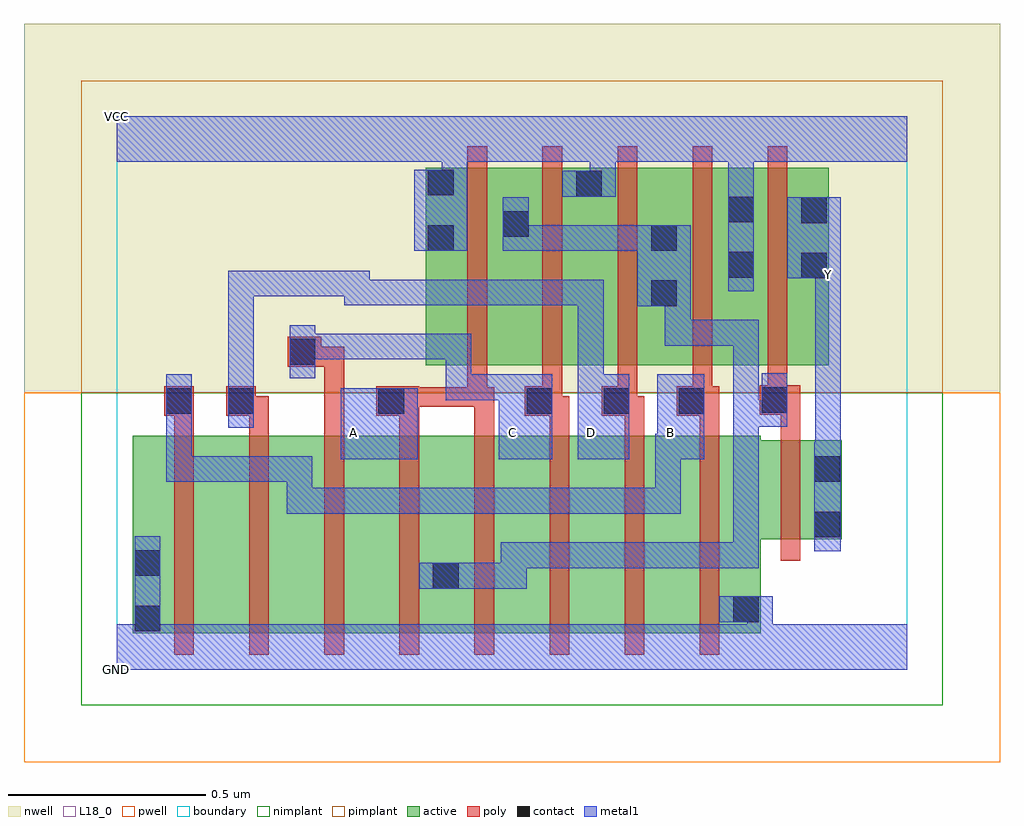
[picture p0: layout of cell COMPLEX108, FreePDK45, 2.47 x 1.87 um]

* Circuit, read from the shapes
.subckt COMPLEX108 A B C D GND VCC Y
M1 n1 B GND VSUBS nfet w=0.5u l=0.05u
M2 n2 D n1 VSUBS nfet w=0.5u l=0.05u
M3 n3 C n2 VSUBS nfet w=0.5u l=0.05u
M4 n4 A n3 VSUBS nfet w=0.5u l=0.05u
M5 n5 A n4 VSUBS nfet w=0.5u l=0.05u
M6 n6 C n5 VSUBS nfet w=0.5u l=0.05u
M7 n7 D n6 VSUBS nfet w=0.5u l=0.05u
M8 GND B n7 VSUBS nfet w=0.5u l=0.05u
M9 Y n4 GND VSUBS nfet w=0.25u l=0.05u
M10 n4 A VCC n8 pfet w=0.5u l=0.05u
M11 VCC C n4 n8 pfet w=0.5u l=0.05u
M12 n4 D VCC n8 pfet w=0.5u l=0.05u
M13 VCC B n4 n8 pfet w=0.5u l=0.05u
M14 Y n4 VCC n8 pfet w=0.5u l=0.05u
.ends

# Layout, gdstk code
import gdstk
lib = gdstk.Library(unit=1e-6, precision=1e-09)
def R(c, l, rs):  # rectangles x0, y0, x1, y1
    for r in rs: c.add(gdstk.rectangle(r[:2], r[2:], *l))
def A(c, l, x, y, w, h, nx, ny, dx, dy):  # array of equal rectangles
    R(c, l, [(x+i*dx, y+j*dy, x+i*dx+w, y+j*dy+h) for i in range(nx) for j in range(ny)])
active = (1, 0)
pwell = (2, 0)
nwell = (3, 0)
nimplant = (4, 0)
pimplant = (5, 0)
poly = (9, 0)
contact = (10, 0)
metal1 = (11, 0)
L18_0 = (18, 0)
boundary = (235, 0)

complex108 = lib.new_cell('COMPLEX108')
R(complex108, active, [(0.04,0.092,0.265,0.592), (0.04,0.092,0.115,0.592), (0.265,0.092,0.455,0.592), (0.455,0.092,0.645,0.592), (0.645,0.092,0.87,0.592), (0.795,0.092,1.025,0.592), (1.025,0.092,1.215,0.592), (1.215,0.092,1.405,0.592), (1.405,0.092,1.63,0.592), (1.555,0.092,1.63,0.497), (0.795,0.145,0.87,0.577), (1.555,0.33,1.835,0.58), (1.76,0.33,1.835,0.58), (0.782,0.77,1.047,1.27), (0.972,0.77,1.232,1.27), (1.157,0.77,1.422,1.27), (1.347,0.77,1.617,1.27), (1.542,0.77,1.802,1.27), (1.727,0.77,1.802,1.2), (0.782,0.807,0.857,1.27), (0.972,0.807,1.047,1.2), (1.157,0.807,1.232,1.27), (1.347,0.807,1.422,1.2), (1.542,0.807,1.617,1.267)])
R(complex108, pwell, [(-0.235,-0.235,2.235,0.7)])
R(complex108, nwell, [(-0.235,0.7,2.235,1.635)])
R(complex108, nimplant, [(-0.09,-0.09,2.09,0.7)])
R(complex108, pimplant, [(-0.09,0.7,2.09,1.49)])
A(complex108, poly, 0.145, 0.037, 0.05, 0.61, 8, 1, 0.19, 0)
A(complex108, poly, 0.335, 0.597, 0.05, 0.095, 3, 1, 0.38, 0)
A(complex108, poly, 1.077, 0.667, 0.05, 0.098, 3, 1, 0.19, 0)
A(complex108, poly, 0.887, 0.715, 0.05, 0.61, 5, 1, 0.19, 0)
R(complex108, poly, [(1.68,0.275,1.73,0.635), (1.68,0.585,1.73,0.695), (0.145,0.597,0.195,0.692), (0.525,0.597,0.575,0.817), (0.905,0.597,0.955,0.715), (1.285,0.597,1.335,0.692), (1.475,0.597,1.525,0.692), (0.12,0.642,0.195,0.717), (0.277,0.642,0.352,0.717), (0.302,0.642,0.352,0.692), (0.302,0.642,0.385,0.692), (0.657,0.642,0.765,0.717), (1.032,0.642,1.127,0.717), (1.077,0.642,1.127,0.692), (1.077,0.642,1.145,0.692), (1.227,0.642,1.317,0.717), (1.267,0.642,1.317,0.692), (1.267,0.642,1.335,0.692), (1.417,0.642,1.525,0.717), (1.627,0.645,1.73,0.72), (0.715,0.665,0.765,0.715), (0.715,0.665,0.765,0.715), (0.715,0.665,0.937,0.715), (0.887,0.665,0.937,0.715), (0.887,0.665,0.937,0.715), (0.887,0.665,0.955,0.715), (0.887,0.665,0.937,0.765), (1.457,0.667,1.507,0.717), (1.457,0.667,1.507,0.717), (1.647,0.67,1.697,0.765), (1.647,0.67,1.697,0.72), (1.647,0.67,1.697,0.72), (0.432,0.767,0.517,0.842), (0.467,0.767,0.517,0.817), (0.467,0.767,0.575,0.817)])
R(complex108, contact, [(0.045,0.097,0.11,0.162), (1.56,0.12,1.625,0.185), (0.8,0.205,0.865,0.27), (0.045,0.237,0.11,0.302), (1.765,0.335,1.83,0.4), (1.765,0.475,1.83,0.54), (0.125,0.647,0.19,0.712), (0.282,0.647,0.347,0.712), (0.662,0.647,0.727,0.712), (1.037,0.647,1.102,0.712), (1.232,0.647,1.297,0.712), (1.422,0.647,1.487,0.712), (1.632,0.65,1.697,0.715), (0.437,0.772,0.502,0.837), (1.352,0.92,1.417,0.985), (1.732,0.99,1.797,1.055), (1.547,0.992,1.612,1.057), (0.787,1.06,0.852,1.125), (1.352,1.06,1.417,1.125), (0.977,1.095,1.042,1.16), (1.732,1.13,1.797,1.195), (1.547,1.132,1.612,1.197), (1.162,1.197,1.227,1.262), (0.787,1.2,0.852,1.265)])
R(complex108, metal1, [(0,0,2,0.115), (0.045,0.05,0.11,0.127), (1.595,0.05,1.66,0.185), (0.045,0.062,0.11,0.337), (1.525,0.12,1.66,0.185), (0.765,0.205,0.9,0.27), (0.835,0.205,0.9,0.27), (0.835,0.205,0.9,0.27), (0.835,0.205,1.037,0.27), (0.972,0.205,1.037,0.27), (0.972,0.205,1.037,0.322), (0.972,0.257,1.037,0.322), (0.972,0.257,1.037,0.322), (0.972,0.257,1.037,0.322), (0.972,0.257,1.245,0.322), (1.18,0.257,1.245,0.322), (1.18,0.257,1.245,0.322), (1.18,0.257,1.245,0.322), (1.18,0.257,1.452,0.322), (1.387,0.257,1.452,0.322), (1.387,0.257,1.562,0.322), (1.497,0.257,1.562,0.322), (1.497,0.257,1.625,0.322), (1.56,0.257,1.625,0.322), (1.56,0.257,1.625,0.68), (1.765,0.3,1.832,0.575), (0.43,0.395,0.495,0.46), (0.43,0.395,0.76,0.46), (0.43,0.395,0.495,0.54), (0.695,0.395,0.76,0.46), (0.695,0.395,0.897,0.46), (0.832,0.395,0.897,0.46), (0.832,0.395,0.897,0.46), (0.832,0.395,0.897,0.46), (0.832,0.395,0.897,0.46), (0.832,0.395,0.897,0.46), (0.832,0.395,1.055,0.46), (0.99,0.395,1.055,0.46), (0.99,0.395,1.055,0.46), (0.99,0.395,1.055,0.46), (0.99,0.395,1.245,0.46), (1.18,0.395,1.245,0.46), (1.18,0.395,1.245,0.46), (1.18,0.395,1.245,0.46), (1.18,0.395,1.427,0.46), (1.362,0.395,1.427,0.597), (0.125,0.475,0.19,0.677), (0.125,0.475,0.357,0.54), (0.292,0.475,0.357,0.54), (0.292,0.475,0.357,0.54), (0.292,0.475,0.357,0.54), (0.292,0.475,0.495,0.54), (0.43,0.475,0.495,0.54), (0.43,0.475,0.495,0.54), (0.43,0.475,0.495,0.54), (1.767,0.51,1.832,0.997), (0.567,0.532,0.762,0.712), (0.967,0.532,1.102,0.747), (1.167,0.532,1.297,0.747), (1.362,0.532,1.432,0.597), (1.367,0.532,1.487,0.747), (0.125,0.612,0.19,0.677), (0.125,0.612,0.19,0.747), (0.282,0.612,0.347,0.747), (1.56,0.615,1.625,0.68), (1.56,0.615,1.697,0.68), (1.56,0.615,1.625,0.885), (1.632,0.615,1.697,0.75), (0.282,0.682,0.347,0.747), (0.282,0.682,0.347,0.747), (0.282,0.682,0.347,1.01), (0.832,0.682,1.032,0.747), (0.832,0.682,0.897,0.85), (0.967,0.682,1.032,0.747), (0.967,0.682,1.032,0.747), (1.167,0.682,1.232,0.747), (1.167,0.682,1.232,0.747), (1.167,0.682,1.232,0.987), (0.437,0.737,0.502,0.872), (0.437,0.785,0.502,0.85), (0.437,0.785,0.502,0.85), (0.437,0.785,0.74,0.85), (0.675,0.785,0.74,0.85), (0.675,0.785,0.74,0.85), (0.675,0.785,0.74,0.85), (0.675,0.785,0.897,0.85), (1.387,0.82,1.452,0.885), (1.387,0.82,1.452,0.885), (1.387,0.82,1.452,0.885), (1.387,0.82,1.625,0.885), (1.387,0.82,1.452,0.985), (1.56,0.82,1.625,0.885), (1.317,0.92,1.452,1.125), (0.575,0.922,0.64,0.987), (0.575,0.922,0.64,0.987), (0.575,0.922,0.897,0.987), (0.575,0.922,0.64,1.01), (0.832,0.922,0.897,0.987), (0.832,0.922,1.055,0.987), (0.99,0.922,1.055,0.987), (0.99,0.922,1.055,0.987), (0.99,0.922,1.055,0.987), (0.99,0.922,1.232,0.987), (1.167,0.922,1.232,0.987), (1.767,0.932,1.832,1.067), (0.282,0.945,0.347,1.01), (0.282,0.945,0.495,1.01), (0.43,0.945,0.495,1.01), (0.43,0.945,0.495,1.01), (0.43,0.945,0.495,1.01), (0.43,0.945,0.64,1.01), (1.547,0.957,1.612,1.232), (1.697,0.99,1.832,1.195), (1.767,0.99,1.832,1.067), (1.767,1.002,1.832,1.067), (1.767,1.002,1.832,1.067), (0.752,1.06,0.887,1.265), (0.977,1.06,1.042,1.125), (0.977,1.06,1.042,1.125), (0.977,1.06,1.042,1.195), (0.977,1.06,1.24,1.125), (1.175,1.06,1.24,1.125), (1.175,1.06,1.24,1.125), (1.175,1.06,1.24,1.125), (1.175,1.06,1.382,1.125), (1.317,1.06,1.382,1.125), (1.317,1.06,1.382,1.125), (1.547,1.167,1.612,1.35), (1.127,1.197,1.262,1.262), (1.197,1.197,1.262,1.35), (0.822,1.2,0.887,1.35), (0,1.285,2,1.4)])
A(complex108, L18_0, 0.967, 0.567, 0.065, 0.065, 3, 1, 0.2, 0)
R(complex108, L18_0, [(0,0,2,0.115), (0.045,0.05,0.11,0.127), (1.595,0.05,1.66,0.185), (0.045,0.062,0.11,0.337), (1.525,0.12,1.66,0.185), (1.765,0.3,1.832,0.575), (0.43,0.395,0.495,0.46), (0.43,0.395,0.495,0.54), (0.43,0.395,0.76,0.46), (0.695,0.395,0.76,0.46), (0.695,0.395,0.897,0.46), (0.832,0.395,0.897,0.46), (0.832,0.395,0.897,0.46), (0.832,0.395,0.897,0.46), (0.832,0.395,0.897,0.46), (0.832,0.395,0.897,0.46), (0.832,0.395,1.055,0.46), (0.99,0.395,1.055,0.46), (0.99,0.395,1.055,0.46), (0.99,0.395,1.055,0.46), (0.99,0.395,1.245,0.46), (1.18,0.395,1.245,0.46), (1.18,0.395,1.245,0.46), (1.18,0.395,1.245,0.46), (1.18,0.395,1.427,0.46), (1.362,0.395,1.427,0.597), (0.125,0.475,0.19,0.677), (0.125,0.475,0.357,0.54), (0.292,0.475,0.357,0.54), (0.292,0.475,0.357,0.54), (0.292,0.475,0.357,0.54), (0.292,0.475,0.495,0.54), (0.43,0.475,0.495,0.54), (0.43,0.475,0.495,0.54), (0.43,0.475,0.495,0.54), (1.767,0.51,1.832,0.997), (0.567,0.532,0.762,0.712), (0.967,0.532,1.102,0.747), (1.167,0.532,1.297,0.747), (1.362,0.532,1.432,0.597), (1.367,0.532,1.487,0.747), (0.567,0.567,0.632,0.632), (0.125,0.612,0.19,0.747), (0.125,0.612,0.19,0.677), (0.282,0.612,0.347,0.747), (0.282,0.682,0.347,0.747), (0.282,0.682,0.347,0.747), (0.282,0.682,0.347,1.01), (0.832,0.682,0.897,0.85), (0.832,0.682,1.032,0.747), (0.967,0.682,1.032,0.747), (0.967,0.682,1.032,0.747), (1.167,0.682,1.232,0.747), (1.167,0.682,1.232,0.747), (1.167,0.682,1.232,0.987), (0.437,0.737,0.502,0.872), (0.437,0.785,0.502,0.85), (0.437,0.785,0.502,0.85), (0.437,0.785,0.74,0.85), (0.675,0.785,0.74,0.85), (0.675,0.785,0.74,0.85), (0.675,0.785,0.74,0.85), (0.675,0.785,0.897,0.85), (0.575,0.922,0.64,0.987), (0.575,0.922,0.64,0.987), (0.575,0.922,0.64,1.01), (0.575,0.922,0.897,0.987), (0.832,0.922,0.897,0.987), (0.832,0.922,1.055,0.987), (0.99,0.922,1.055,0.987), (0.99,0.922,1.055,0.987), (0.99,0.922,1.055,0.987), (0.99,0.922,1.232,0.987), (1.167,0.922,1.232,0.987), (1.767,0.932,1.832,1.067), (0.282,0.945,0.347,1.01), (0.282,0.945,0.495,1.01), (0.43,0.945,0.495,1.01), (0.43,0.945,0.495,1.01), (0.43,0.945,0.495,1.01), (0.43,0.945,0.64,1.01), (1.547,0.957,1.612,1.232), (1.767,0.967,1.832,1.032), (1.697,0.99,1.832,1.195), (1.767,0.99,1.832,1.067), (1.767,1.002,1.832,1.067), (1.767,1.002,1.832,1.067), (0.752,1.06,0.887,1.265), (1.547,1.167,1.612,1.35), (1.127,1.197,1.262,1.262), (1.197,1.197,1.262,1.35), (0.822,1.2,0.887,1.35), (0,1.285,2,1.4)])
R(complex108, boundary, [(0,0,2,1.4)])
complex108.add(gdstk.Label('A', (0.6,0.6), layer=11, texttype=0))
complex108.add(gdstk.Label('B', (1.4,0.6), layer=11, texttype=0))
complex108.add(gdstk.Label('C', (1,0.6), layer=11, texttype=0))
complex108.add(gdstk.Label('D', (1.2,0.6), layer=11, texttype=0))
complex108.add(gdstk.Label('Y', (1.8,1), layer=11, texttype=0))
complex108.add(gdstk.Label('VCC', (0,1.4), layer=11, texttype=0))
complex108.add(gdstk.Label('GND', (0,0), layer=11, texttype=0))

lib.write_gds('COMPLEX108.gds')
